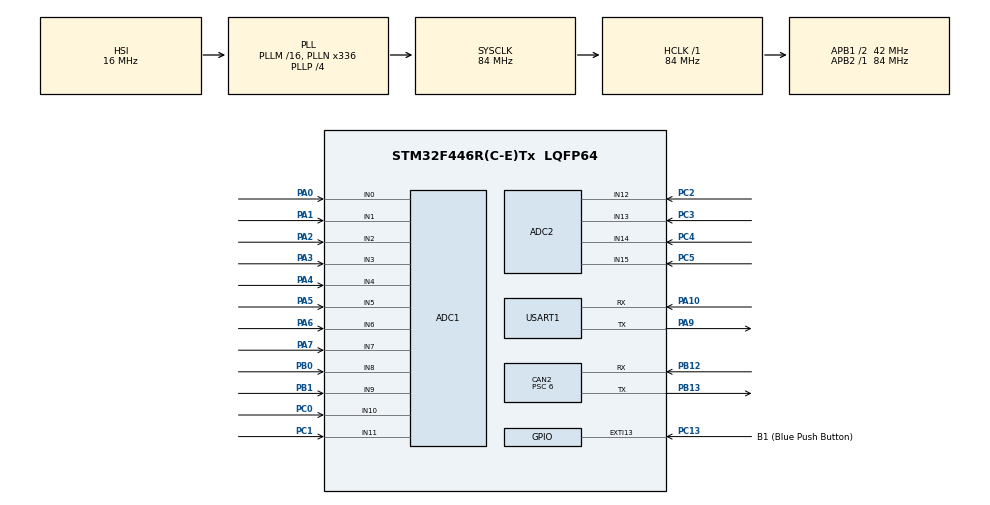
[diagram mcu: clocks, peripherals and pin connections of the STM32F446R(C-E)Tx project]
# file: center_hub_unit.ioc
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ADC1.Channel-1\#ChannelRegularConversion=ADC_CHANNEL_0
ADC1.Channel-10\#ChannelRegularConversion=ADC_CHANNEL_0
ADC1.Channel-11\#ChannelRegularConversion=ADC_CHANNEL_0
ADC1.Channel-12\#ChannelRegularConversion=ADC_CHANNEL_0
ADC1.Channel-2\#ChannelRegularConversion=ADC_CHANNEL_0
ADC1.Channel-3\#ChannelRegularConversion=ADC_CHANNEL_0
ADC1.Channel-4\#ChannelRegularConversion=ADC_CHANNEL_0
ADC1.Channel-5\#ChannelRegularConversion=ADC_CHANNEL_0
ADC1.Channel-6\#ChannelRegularConversion=ADC_CHANNEL_0
ADC1.Channel-7\#ChannelRegularConversion=ADC_CHANNEL_0
ADC1.Channel-8\#ChannelRegularConversion=ADC_CHANNEL_0
ADC1.Channel-9\#ChannelRegularConversion=ADC_CHANNEL_0
ADC1.ContinuousConvMode=ENABLE
ADC1.DMAContinuousRequests=ENABLE
ADC1.NbrOfConversion=12
ADC1.NbrOfConversionFlag=1
ADC1.Rank-1\#ChannelRegularConversion=1
ADC1.Rank-10\#ChannelRegularConversion=10
ADC1.Rank-11\#ChannelRegularConversion=11
ADC1.Rank-12\#ChannelRegularConversion=12
ADC1.Rank-2\#ChannelRegularConversion=2
ADC1.Rank-3\#ChannelRegularConversion=3
ADC1.Rank-4\#ChannelRegularConversion=4
ADC1.Rank-5\#ChannelRegularConversion=5
ADC1.Rank-6\#ChannelRegularConversion=6
ADC1.Rank-7\#ChannelRegularConversion=7
ADC1.Rank-8\#ChannelRegularConversion=8
ADC1.Rank-9\#ChannelRegularConversion=9
ADC1.SamplingTime-1\#ChannelRegularConversion=ADC_SAMPLETIME_3CYCLES
ADC1.SamplingTime-10\#ChannelRegularConversion=ADC_SAMPLETIME_3CYCLES
ADC1.SamplingTime-11\#ChannelRegularConversion=ADC_SAMPLETIME_3CYCLES
ADC1.SamplingTime-12\#ChannelRegularConversion=ADC_SAMPLETIME_3CYCLES
ADC1.SamplingTime-2\#ChannelRegularConversion=ADC_SAMPLETIME_3CYCLES
ADC1.SamplingTime-3\#ChannelRegularConversion=ADC_SAMPLETIME_3CYCLES
ADC1.SamplingTime-4\#ChannelRegularConversion=ADC_SAMPLETIME_3CYCLES
ADC1.SamplingTime-5\#ChannelRegularConversion=ADC_SAMPLETIME_3CYCLES
ADC1.SamplingTime-6\#ChannelRegularConversion=ADC_SAMPLETIME_3CYCLES
ADC1.SamplingTime-7\#ChannelRegularConversion=ADC_SAMPLETIME_3CYCLES
ADC1.SamplingTime-8\#ChannelRegularConversion=ADC_SAMPLETIME_3CYCLES
ADC1.SamplingTime-9\#ChannelRegularConversion=ADC_SAMPLETIME_3CYCLES
ADC1.master=1
ADC2.Channel-2\#ChannelRegularConversion=ADC_CHANNEL_12
ADC2.NbrOfConversionFlag=1
ADC2.Rank-2\#ChannelRegularConversion=1
ADC2.SamplingTime-2\#ChannelRegularConversion=ADC_SAMPLETIME_3CYCLES
CAN2.BS1=CAN_BS1_11TQ
CAN2.BS2=CAN_BS2_2TQ
CAN2.CalculateBaudRate=500000
CAN2.CalculateTimeBit=2000
CAN2.CalculateTimeQuantum=142.85714285714286
CAN2.Prescaler=6
Dma.ADC1.0.Direction=DMA_PERIPH_TO_MEMORY
Dma.ADC1.0.FIFOMode=DMA_FIFOMODE_DISABLE
Dma.ADC1.0.Instance=DMA2_Stream0
Dma.ADC1.0.MemDataAlignment=DMA_MDATAALIGN_HALFWORD
Dma.ADC1.0.MemInc=DMA_MINC_ENABLE
Dma.ADC1.0.Mode=DMA_CIRCULAR
Dma.ADC1.0.PeriphDataAlignment=DMA_PDATAALIGN_HALFWORD
Dma.ADC1.0.PeriphInc=DMA_PINC_DISABLE
Dma.ADC1.0.Priority=DMA_PRIORITY_LOW
Dma.Request0=ADC1
Mcu.Family=STM32F4
Mcu.Name=STM32F446R(C-E)Tx
Mcu.Package=LQFP64
NVIC.CAN2_RX0_IRQn=true\:0\:0\:false\:false\:true\:true\:true\:true
NVIC.DMA2_Stream0_IRQn=true\:0\:0\:false\:false\:true\:false\:true\:true
NVIC.PriorityGroup=NVIC_PRIORITYGROUP_4
PA0-WKUP.Signal=ADCx_IN0
PA1.Signal=ADCx_IN1
PA10.Mode=Asynchronous
PA10.Signal=USART1_RX
PA2.Signal=ADCx_IN2
PA3.Signal=ADCx_IN3
PA4.Signal=ADCx_IN4
PA5.Signal=ADCx_IN5
PA6.Signal=ADCx_IN6
PA7.Signal=ADCx_IN7
PA9.Mode=Asynchronous
PA9.Signal=USART1_TX
PB0.Signal=ADCx_IN8
PB1.Signal=ADCx_IN9
PB12.GPIO_PuPd=GPIO_PULLUP
PB12.Mode=CAN_Activate
PB12.Signal=CAN2_RX
PB13.Mode=CAN_Activate
PB13.Signal=CAN2_TX
PC0.Signal=ADCx_IN10
PC1.Signal=ADCx_IN11
PC13.GPIO_Label=B1 (Blue Push Button)
PC13.GPIO_ModeDefaultEXTI=GPIO_MODE_IT_FALLING
PC13.Signal=GPXTI13
PC2.Signal=ADCx_IN12
PC3.Signal=ADCx_IN13
PC4.Signal=ADCx_IN14
PC5.Signal=ADCx_IN15
ProjectManager.HeapSize=0x200
ProjectManager.StackSize=0x400
ProjectManager.TargetToolchain=STM32CubeIDE
RCC.AHBFreq_Value=84000000
RCC.APB1CLKDivider=RCC_HCLK_DIV2
RCC.APB1Freq_Value=42000000
RCC.APB1TimFreq_Value=84000000
RCC.APB2Freq_Value=84000000
RCC.APB2TimFreq_Value=84000000
RCC.CortexFreq_Value=84000000
RCC.HCLKFreq_Value=84000000
RCC.PLLN=336
RCC.PLLP=RCC_PLLP_DIV4
RCC.SYSCLKFreq_VALUE=84000000
RCC.SYSCLKSource=RCC_SYSCLKSOURCE_PLLCLK
RCC.USBFreq_Value=168000000
RCC.VCOOutputFreq_Value=336000000
SH.ADCx_IN0.0=ADC1_IN0,IN0
SH.ADCx_IN1.0=ADC1_IN1,IN1
SH.ADCx_IN10.0=ADC1_IN10,IN10
SH.ADCx_IN11.0=ADC1_IN11,IN11
SH.ADCx_IN12.0=ADC2_IN12,IN12
SH.ADCx_IN13.0=ADC2_IN13,IN13
SH.ADCx_IN14.0=ADC2_IN14,IN14
SH.ADCx_IN15.0=ADC2_IN15,IN15
SH.ADCx_IN2.0=ADC1_IN2,IN2
SH.ADCx_IN3.0=ADC1_IN3,IN3
SH.ADCx_IN4.0=ADC1_IN4,IN4
SH.ADCx_IN5.0=ADC1_IN5,IN5
SH.ADCx_IN6.0=ADC1_IN6,IN6
SH.ADCx_IN7.0=ADC1_IN7,IN7
SH.ADCx_IN8.0=ADC1_IN8,IN8
SH.ADCx_IN9.0=ADC1_IN9,IN9
USART1.VirtualMode=VM_ASYNC
board=custom

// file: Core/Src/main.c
/* USER CODE BEGIN Header */
/**
  ******************************************************************************
  * @file           : main.c
  * @brief          : Main program body
  ******************************************************************************
  * @attention
  *
  * Copyright (c) 2026 STMicroelectronics.
  * All rights reserved.
  *
  * This software is licensed under terms that can be found in the LICENSE file
  * in the root directory of this software component.
  * If no LICENSE file comes with this software, it is provided AS-IS.
  *
  ******************************************************************************
  */
/* USER CODE END Header */
#include "main.h"

/* USER CODE BEGIN Includes */

// Struct for temp sensor
typedef struct {
    uint16_t raw_va;
    uint16_t raw_vb;
    float va;
    float vb;
    float temp_c;
} Temp_Sensor_t;

// Struct for hall effect sensor
typedef struct {
    uint16_t raw;
    float voltage;
    float field_mt;
} HallSensor_t;

// Arrays of sensors
Temp_Sensor_t tempSensors[6];
HallSensor_t hallSensors[4];

// Raw ADC buffers
uint16_t adc1_temp_raw[12]; // 12 for temp sensors, every pair of 2 is for a sensor (one for each pin)
uint16_t adc2_he_raw[4];

/* USER CODE END Includes */

ADC_HandleTypeDef hadc1;
ADC_HandleTypeDef hadc2;
DMA_HandleTypeDef hdma_adc1;

CAN_HandleTypeDef hcan2;

UART_HandleTypeDef huart1;

void SystemClock_Config(void);
static void MX_GPIO_Init(void);
static void MX_DMA_Init(void);
static void MX_ADC1_Init(void);
static void MX_ADC2_Init(void);
static void MX_CAN2_Init(void);
static void MX_USART1_UART_Init(void);

/* USER CODE BEGIN 0 */

int __io_putchar(int ch) {
    HAL_UART_Transmit(&huart1, (uint8_t *)&ch, 1, HAL_MAX_DELAY);
    return ch;
}

float adc_to_voltage(uint16_t raw) {
    return ((float)raw * 3.3f) / 4095.0f;
}

float compute_temp(float va, float vb) {
	float diffVoltage = va-vb;
	float c = (diffVoltage+1.65)/3.3;
	float tempValue = (2000*c-1000) / (3.85*(1-c));
}

float compute_hall(){
	return;
}

void update_temp_sensors(void) {
    for (int i = 0; i < 6; i++)
    {
        tempSensors[i].raw_va = adc1_temp_raw[2 * i];
        tempSensors[i].raw_vb = adc1_temp_raw[2 * i + 1];

        tempSensors[i].va = adc_to_voltage(tempSensors[i].raw_va);
        tempSensors[i].vb = adc_to_voltage(tempSensors[i].raw_vb);

        tempSensors[i].temp_c = compute_temp(tempSensors[i].va, tempSensors[i].vb);
    }
}

// Implement later
void update_hall_sensors(void);

void print_temp_data() {
	 printf("\r\n====================\r\n");
	 for (int i = 0; i < 6; i++) {
	         printf("TEMP %d | raw_va=%u raw_vb=%u | Va=%.4f V Vb=%.4f V | T=%.2f C\r\n",
	                i,
	                tempSensors[i].raw_va,
	                tempSensors[i].raw_vb,
	                tempSensors[i].va,
	                tempSensors[i].vb,
	                tempSensors[i].temp_c);
	 }
}

/* USER CODE END 0 */

int main(void)
{

  /* MCU Configuration--------------------------------------------------------*/

  /* Reset of all peripherals, Initializes the Flash interface and the Systick. */
  HAL_Init();

  /* Configure the system clock */
  SystemClock_Config();

  /* Initialize all configured peripherals */
  MX_GPIO_Init();
  MX_DMA_Init();
  MX_ADC1_Init();
  MX_ADC2_Init();
  MX_CAN2_Init();
  MX_USART1_UART_Init();
  /* USER CODE BEGIN 2 */

  HAL_ADC_Start_DMA(&hadc1, (uint32_t*)adc1_temp_raw, 12);
  HAL_ADC_Start_DMA(&hadc2, (uint32_t*)adc2_he_raw, 4);

  /* USER CODE END 2 */

  /* Infinite loop */
  /* USER CODE BEGIN WHILE */
  while (1)
  {
	  update_temp_sensors();
//	  update_hall_sensors();

	  print_temp_data();
	  // add hall effect printing

	  // Can remove the delay later I think
	  HAL_Delay(500);

    /* USER CODE END WHILE */

  }
}

void SystemClock_Config(void)
{
  RCC_OscInitTypeDef RCC_OscInitStruct = {0};
  RCC_ClkInitTypeDef RCC_ClkInitStruct = {0};

  /** Configure the main internal regulator output voltage
  */
  __HAL_RCC_PWR_CLK_ENABLE();
  __HAL_PWR_VOLTAGESCALING_CONFIG(PWR_REGULATOR_VOLTAGE_SCALE3);

  /** Initializes the RCC Oscillators according to the specified parameters
  * in the RCC_OscInitTypeDef structure.
  */
  RCC_OscInitStruct.OscillatorType = RCC_OSCILLATORTYPE_HSI;
  RCC_OscInitStruct.HSIState = RCC_HSI_ON;
  RCC_OscInitStruct.HSICalibrationValue = RCC_HSICALIBRATION_DEFAULT;
  RCC_OscInitStruct.PLL.PLLState = RCC_PLL_ON;
  RCC_OscInitStruct.PLL.PLLSource = RCC_PLLSOURCE_HSI;
  RCC_OscInitStruct.PLL.PLLM = 16;
  RCC_OscInitStruct.PLL.PLLN = 336;
  RCC_OscInitStruct.PLL.PLLP = RCC_PLLP_DIV4;
  RCC_OscInitStruct.PLL.PLLQ = 2;
  RCC_OscInitStruct.PLL.PLLR = 2;
  if (HAL_RCC_OscConfig(&RCC_OscInitStruct) != HAL_OK)
  {
    Error_Handler();
  }

  /** Initializes the CPU, AHB and APB buses clocks
  */
  RCC_ClkInitStruct.ClockType = RCC_CLOCKTYPE_HCLK|RCC_CLOCKTYPE_SYSCLK
                              |RCC_CLOCKTYPE_PCLK1|RCC_CLOCKTYPE_PCLK2;
  RCC_ClkInitStruct.SYSCLKSource = RCC_SYSCLKSOURCE_PLLCLK;
  RCC_ClkInitStruct.AHBCLKDivider = RCC_SYSCLK_DIV1;
  RCC_ClkInitStruct.APB1CLKDivider = RCC_HCLK_DIV2;
  RCC_ClkInitStruct.APB2CLKDivider = RCC_HCLK_DIV1;

  if (HAL_RCC_ClockConfig(&RCC_ClkInitStruct, FLASH_LATENCY_2) != HAL_OK)
  {
    Error_Handler();
  }
}

static void MX_ADC1_Init(void)
{

  ADC_ChannelConfTypeDef sConfig = {0};

  /** Configure the global features of the ADC (Clock, Resolution, Data Alignment and number of conversion)
  */
  hadc1.Instance = ADC1;
  hadc1.Init.ClockPrescaler = ADC_CLOCK_SYNC_PCLK_DIV4;
  hadc1.Init.Resolution = ADC_RESOLUTION_12B;
  hadc1.Init.ScanConvMode = ENABLE;
  hadc1.Init.ContinuousConvMode = ENABLE;
  hadc1.Init.DiscontinuousConvMode = DISABLE;
  hadc1.Init.ExternalTrigConvEdge = ADC_EXTERNALTRIGCONVEDGE_NONE;
  hadc1.Init.ExternalTrigConv = ADC_SOFTWARE_START;
  hadc1.Init.DataAlign = ADC_DATAALIGN_RIGHT;
  hadc1.Init.NbrOfConversion = 12;
  hadc1.Init.DMAContinuousRequests = ENABLE;
  hadc1.Init.EOCSelection = ADC_EOC_SINGLE_CONV;
  if (HAL_ADC_Init(&hadc1) != HAL_OK)
  {
    Error_Handler();
  }

  /** Configure for the selected ADC regular channel its corresponding rank in the sequencer and its sample time.
  */
  sConfig.Channel = ADC_CHANNEL_0;
  sConfig.Rank = 1;
  sConfig.SamplingTime = ADC_SAMPLETIME_3CYCLES;
  if (HAL_ADC_ConfigChannel(&hadc1, &sConfig) != HAL_OK)
  {
    Error_Handler();
  }

  /** Configure for the selected ADC regular channel its corresponding rank in the sequencer and its sample time.
  */
  sConfig.Rank = 2;
  if (HAL_ADC_ConfigChannel(&hadc1, &sConfig) != HAL_OK)
  {
    Error_Handler();
  }

  /** Configure for the selected ADC regular channel its corresponding rank in the sequencer and its sample time.
  */
  sConfig.Rank = 3;
  if (HAL_ADC_ConfigChannel(&hadc1, &sConfig) != HAL_OK)
  {
    Error_Handler();
  }

  /** Configure for the selected ADC regular channel its corresponding rank in the sequencer and its sample time.
  */
  sConfig.Rank = 4;
  if (HAL_ADC_ConfigChannel(&hadc1, &sConfig) != HAL_OK)
  {
    Error_Handler();
  }

  /** Configure for the selected ADC regular channel its corresponding rank in the sequencer and its sample time.
  */
  sConfig.Rank = 5;
  if (HAL_ADC_ConfigChannel(&hadc1, &sConfig) != HAL_OK)
  {
    Error_Handler();
  }

  /** Configure for the selected ADC regular channel its corresponding rank in the sequencer and its sample time.
  */
  sConfig.Rank = 6;
  if (HAL_ADC_ConfigChannel(&hadc1, &sConfig) != HAL_OK)
  {
    Error_Handler();
  }

  /** Configure for the selected ADC regular channel its corresponding rank in the sequencer and its sample time.
  */
  sConfig.Rank = 7;
  if (HAL_ADC_ConfigChannel(&hadc1, &sConfig) != HAL_OK)
  {
    Error_Handler();
  }

  /** Configure for the selected ADC regular channel its corresponding rank in the sequencer and its sample time.
  */
  sConfig.Rank = 8;
  if (HAL_ADC_ConfigChannel(&hadc1, &sConfig) != HAL_OK)
  {
    Error_Handler();
  }

  /** Configure for the selected ADC regular channel its corresponding rank in the sequencer and its sample time.
  */
  sConfig.Rank = 9;
  if (HAL_ADC_ConfigChannel(&hadc1, &sConfig) != HAL_OK)
  {
    Error_Handler();
  }

  /** Configure for the selected ADC regular channel its corresponding rank in the sequencer and its sample time.
  */
  sConfig.Rank = 10;
  if (HAL_ADC_ConfigChannel(&hadc1, &sConfig) != HAL_OK)
  {
    Error_Handler();
  }

  /** Configure for the selected ADC regular channel its corresponding rank in the sequencer and its sample time.
  */
  sConfig.Rank = 11;
  if (HAL_ADC_ConfigChannel(&hadc1, &sConfig) != HAL_OK)
  {
    Error_Handler();
  }

  /** Configure for the selected ADC regular channel its corresponding rank in the sequencer and its sample time.
  */
  sConfig.Rank = 12;
  if (HAL_ADC_ConfigChannel(&hadc1, &sConfig) != HAL_OK)
  {
    Error_Handler();
  }

}

static void MX_ADC2_Init(void)
{

  ADC_ChannelConfTypeDef sConfig = {0};

  /** Configure the global features of the ADC (Clock, Resolution, Data Alignment and number of conversion)
  */
  hadc2.Instance = ADC2;
  hadc2.Init.ClockPrescaler = ADC_CLOCK_SYNC_PCLK_DIV4;
  hadc2.Init.Resolution = ADC_RESOLUTION_12B;
  hadc2.Init.ScanConvMode = DISABLE;
  hadc2.Init.ContinuousConvMode = DISABLE;
  hadc2.Init.DiscontinuousConvMode = DISABLE;
  hadc2.Init.ExternalTrigConvEdge = ADC_EXTERNALTRIGCONVEDGE_NONE;
  hadc2.Init.ExternalTrigConv = ADC_SOFTWARE_START;
  hadc2.Init.DataAlign = ADC_DATAALIGN_RIGHT;
  hadc2.Init.NbrOfConversion = 1;
  hadc2.Init.DMAContinuousRequests = DISABLE;
  hadc2.Init.EOCSelection = ADC_EOC_SINGLE_CONV;
  if (HAL_ADC_Init(&hadc2) != HAL_OK)
  {
    Error_Handler();
  }

  /** Configure for the selected ADC regular channel its corresponding rank in the sequencer and its sample time.
  */
  sConfig.Channel = ADC_CHANNEL_12;
  sConfig.Rank = 1;
  sConfig.SamplingTime = ADC_SAMPLETIME_3CYCLES;
  if (HAL_ADC_ConfigChannel(&hadc2, &sConfig) != HAL_OK)
  {
    Error_Handler();
  }

}

static void MX_CAN2_Init(void)
{

  hcan2.Instance = CAN2;
  hcan2.Init.Prescaler = 6;
  hcan2.Init.Mode = CAN_MODE_NORMAL;
  hcan2.Init.SyncJumpWidth = CAN_SJW_1TQ;
  hcan2.Init.TimeSeg1 = CAN_BS1_11TQ;
  hcan2.Init.TimeSeg2 = CAN_BS2_2TQ;
  hcan2.Init.TimeTriggeredMode = DISABLE;
  hcan2.Init.AutoBusOff = DISABLE;
  hcan2.Init.AutoWakeUp = DISABLE;
  hcan2.Init.AutoRetransmission = DISABLE;
  hcan2.Init.ReceiveFifoLocked = DISABLE;
  hcan2.Init.TransmitFifoPriority = DISABLE;
  if (HAL_CAN_Init(&hcan2) != HAL_OK)
  {
    Error_Handler();
  }

}

static void MX_USART1_UART_Init(void)
{

  huart1.Instance = USART1;
  huart1.Init.BaudRate = 115200;
  huart1.Init.WordLength = UART_WORDLENGTH_8B;
  huart1.Init.StopBits = UART_STOPBITS_1;
  huart1.Init.Parity = UART_PARITY_NONE;
  huart1.Init.Mode = UART_MODE_TX_RX;
  huart1.Init.HwFlowCtl = UART_HWCONTROL_NONE;
  huart1.Init.OverSampling = UART_OVERSAMPLING_16;
  if (HAL_UART_Init(&huart1) != HAL_OK)
  {
    Error_Handler();
  }

}

static void MX_DMA_Init(void)
{

  /* DMA controller clock enable */
  __HAL_RCC_DMA2_CLK_ENABLE();

  /* DMA interrupt init */
  /* DMA2_Stream0_IRQn interrupt configuration */
  HAL_NVIC_SetPriority(DMA2_Stream0_IRQn, 0, 0);
  HAL_NVIC_EnableIRQ(DMA2_Stream0_IRQn);

}

static void MX_GPIO_Init(void)
{
  GPIO_InitTypeDef GPIO_InitStruct = {0};

  /* GPIO Ports Clock Enable */
  __HAL_RCC_GPIOC_CLK_ENABLE();
  __HAL_RCC_GPIOA_CLK_ENABLE();
  __HAL_RCC_GPIOB_CLK_ENABLE();

  /*Configure GPIO pin : B1_Pin */
  GPIO_InitStruct.Pin = B1_Pin;
  GPIO_InitStruct.Mode = GPIO_MODE_IT_FALLING;
  GPIO_InitStruct.Pull = GPIO_NOPULL;
  HAL_GPIO_Init(B1_GPIO_Port, &GPIO_InitStruct);

}

void Error_Handler(void)
{
  __disable_irq();
  while (1)
  {
  }
}
